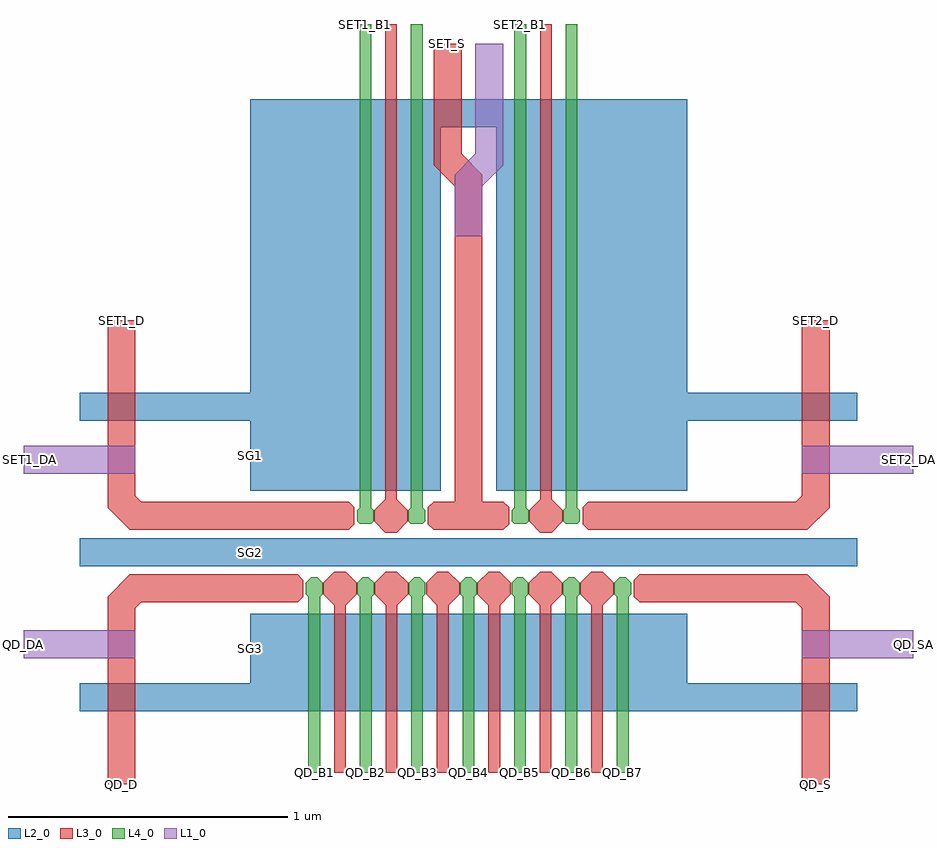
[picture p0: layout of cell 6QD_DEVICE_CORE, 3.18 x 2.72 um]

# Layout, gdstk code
import gdstk
lib = gdstk.Library(unit=1e-6, precision=1e-09)
def R(c, l, rs):  # rectangles x0, y0, x1, y1
    for r in rs: c.add(gdstk.rectangle(r[:2], r[2:], *l))
def P(c, l, *ps):  # polygons
    for p in ps: c.add(gdstk.Polygon(p, *l))
L1_0 = (1, 0)
L2_0 = (2, 0)
L3_0 = (3, 0)
L4_0 = (4, 0)

c_6qd_device_core = lib.new_cell('6QD_DEVICE_CORE')
R(c_6qd_device_core, L1_0, [(-1.04,-0.25,-0.64,-0.15), (1.744,-0.25,2.144,-0.15), (-1.04,0.41,-0.64,0.51), (1.744,0.41,2.144,0.51)])
P(c_6qd_device_core, L1_0, [(0.502,1.26),(0.602,1.26),(0.602,1.439),(0.677,1.514),(0.677,1.95),(0.577,1.95),(0.577,1.556),(0.502,1.481)])
R(c_6qd_device_core, L2_0, [(-0.84,0.08,1.944,0.18)])
P(c_6qd_device_core, L2_0, [(-0.23,0.7),(-0.23,1.75),(0.452,1.75),(0.652,1.75),(1.334,1.75),(1.334,0.7),(1.944,0.7),(1.944,0.6),(1.334,0.6),(1.334,0.35),(0.652,0.35),(0.652,1.65),(0.452,1.65),(0.452,0.35),(-0.23,0.35),(-0.23,0.6),(-0.84,0.6),(-0.84,0.7)],
  [(-0.84,-0.34),(-0.84,-0.44),(1.944,-0.44),(1.944,-0.34),(1.334,-0.34),(1.334,-0.09),(-0.23,-0.09),(-0.23,-0.34)])
P(c_6qd_device_core, L3_0, [(0.113,-0.06),(0.152,-0.02),(0.152,0.02),(0.112,0.06),(0.072,0.06),(0.032,0.02),(0.032,-0.02),(0.071,-0.06),(0.071,-0.66),(0.113,-0.66)],
  [(0.297,-0.06),(0.336,-0.02),(0.336,0.02),(0.296,0.06),(0.256,0.06),(0.216,0.02),(0.216,-0.02),(0.255,-0.06),(0.255,-0.66),(0.297,-0.66)],
  [(0.481,-0.06),(0.52,-0.02),(0.52,0.02),(0.48,0.06),(0.44,0.06),(0.4,0.02),(0.4,-0.02),(0.439,-0.06),(0.439,-0.66),(0.481,-0.66)],
  [(0.665,-0.06),(0.704,-0.02),(0.704,0.02),(0.664,0.06),(0.624,0.06),(0.584,0.02),(0.584,-0.02),(0.623,-0.06),(0.623,-0.66),(0.665,-0.66)],
  [(0.849,-0.06),(0.888,-0.02),(0.888,0.02),(0.848,0.06),(0.808,0.06),(0.768,0.02),(0.768,-0.02),(0.807,-0.06),(0.807,-0.66),(0.849,-0.66)],
  [(1.033,-0.06),(1.072,-0.02),(1.072,0.02),(1.032,0.06),(0.992,0.06),(0.952,0.02),(0.952,-0.02),(0.991,-0.06),(0.991,-0.66),(1.033,-0.66)],
  [(0.335,0.24),(0.335,0.28),(0.296,0.319),(0.296,2.02),(0.254,2.02),(0.254,0.319),(0.215,0.28),(0.215,0.24),(0.254,0.2),(0.296,0.2)],
  [(0.889,0.24),(0.889,0.28),(0.85,0.319),(0.85,2.02),(0.808,2.02),(0.808,0.319),(0.769,0.28),(0.769,0.24),(0.808,0.2),(0.85,0.2)],
  [(-0.34,-0.05),(-0.06,-0.05),(-0.04,-0.03),(-0.04,0.03),(-0.06,0.05),(-0.34,0.05)],
  [(1.144,-0.03),(1.164,-0.05),(1.444,-0.05),(1.444,0.05),(1.164,0.05),(1.144,0.03)],
  [(-0.34,0.21),(0.123,0.21),(0.143,0.23),(0.143,0.29),(0.123,0.31),(-0.34,0.31)],
  [(0.961,0.23),(0.981,0.21),(1.444,0.21),(1.444,0.31),(0.981,0.31),(0.961,0.29)],
  [(0.697,0.23),(0.697,0.29),(0.677,0.31),(0.602,0.31),(0.602,1.41),(0.502,1.41),(0.502,0.31),(0.427,0.31),(0.407,0.29),(0.407,0.23),(0.427,0.21),(0.677,0.21)],
  [(-0.34,-0.05),(-0.34,0.05),(-0.661,0.05),(-0.74,-0.029),(-0.74,-0.7),(-0.64,-0.7),(-0.64,-0.071),(-0.619,-0.05)],
  [(1.444,0.05),(1.444,-0.05),(1.723,-0.05),(1.744,-0.071),(1.744,-0.7),(1.844,-0.7),(1.844,-0.029),(1.765,0.05)],
  [(-0.34,0.21),(-0.34,0.31),(-0.619,0.31),(-0.64,0.331),(-0.64,0.96),(-0.74,0.96),(-0.74,0.289),(-0.661,0.21)],
  [(1.444,0.31),(1.444,0.21),(1.765,0.21),(1.844,0.289),(1.844,0.96),(1.744,0.96),(1.744,0.331),(1.723,0.31)],
  [(0.502,1.41),(0.602,1.41),(0.602,1.481),(0.527,1.556),(0.527,1.95),(0.427,1.95),(0.427,1.514),(0.502,1.439)])
P(c_6qd_device_core, L4_0, [(0.021,-0.029),(0.03,-0.02),(0.03,0.02),(0.01,0.04),(-0.01,0.04),(-0.03,0.02),(-0.03,-0.02),(-0.021,-0.029),(-0.021,-0.66),(0.021,-0.66)],
  [(0.205,-0.029),(0.214,-0.02),(0.214,0.02),(0.194,0.04),(0.174,0.04),(0.154,0.02),(0.154,-0.02),(0.163,-0.029),(0.163,-0.66),(0.205,-0.66)],
  [(0.389,-0.029),(0.398,-0.02),(0.398,0.02),(0.378,0.04),(0.358,0.04),(0.338,0.02),(0.338,-0.02),(0.347,-0.029),(0.347,-0.66),(0.389,-0.66)],
  [(0.573,-0.029),(0.582,-0.02),(0.582,0.02),(0.562,0.04),(0.542,0.04),(0.522,0.02),(0.522,-0.02),(0.531,-0.029),(0.531,-0.66),(0.573,-0.66)],
  [(0.757,-0.029),(0.766,-0.02),(0.766,0.02),(0.746,0.04),(0.726,0.04),(0.706,0.02),(0.706,-0.02),(0.715,-0.029),(0.715,-0.66),(0.757,-0.66)],
  [(0.941,-0.029),(0.95,-0.02),(0.95,0.02),(0.93,0.04),(0.91,0.04),(0.89,0.02),(0.89,-0.02),(0.899,-0.029),(0.899,-0.66),(0.941,-0.66)],
  [(1.125,-0.029),(1.134,-0.02),(1.134,0.02),(1.114,0.04),(1.094,0.04),(1.074,0.02),(1.074,-0.02),(1.083,-0.029),(1.083,-0.66),(1.125,-0.66)],
  [(0.213,0.24),(0.213,0.28),(0.204,0.289),(0.204,2.02),(0.162,2.02),(0.162,0.289),(0.153,0.28),(0.153,0.24),(0.162,0.231),(0.204,0.231)],
  [(0.397,0.24),(0.397,0.28),(0.388,0.289),(0.388,2.02),(0.346,2.02),(0.346,0.289),(0.337,0.28),(0.337,0.24),(0.346,0.231),(0.388,0.231)],
  [(0.767,0.24),(0.767,0.28),(0.758,0.289),(0.758,2.02),(0.716,2.02),(0.716,0.289),(0.707,0.28),(0.707,0.24),(0.716,0.231),(0.758,0.231)],
  [(0.951,0.24),(0.951,0.28),(0.942,0.289),(0.942,2.02),(0.9,2.02),(0.9,0.289),(0.891,0.28),(0.891,0.24),(0.9,0.231),(0.942,0.231)])
c_6qd_device_core.add(gdstk.Label('QD_B1', (0,-0.66), layer=100, texttype=0))
c_6qd_device_core.add(gdstk.Label('QD_PG1', (0.092,-0.66), layer=100, texttype=0))
c_6qd_device_core.add(gdstk.Label('QD_B2', (0.184,-0.66), layer=100, texttype=0))
c_6qd_device_core.add(gdstk.Label('QD_PG2', (0.276,-0.66), layer=100, texttype=0))
c_6qd_device_core.add(gdstk.Label('QD_B3', (0.368,-0.66), layer=100, texttype=0))
c_6qd_device_core.add(gdstk.Label('QD_PG3', (0.46,-0.66), layer=100, texttype=0))
c_6qd_device_core.add(gdstk.Label('QD_B4', (0.552,-0.66), layer=100, texttype=0))
c_6qd_device_core.add(gdstk.Label('QD_PG4', (0.644,-0.66), layer=100, texttype=0))
c_6qd_device_core.add(gdstk.Label('QD_B5', (0.736,-0.66), layer=100, texttype=0))
c_6qd_device_core.add(gdstk.Label('QD_PG5', (0.828,-0.66), layer=100, texttype=0))
c_6qd_device_core.add(gdstk.Label('QD_B6', (0.92,-0.66), layer=100, texttype=0))
c_6qd_device_core.add(gdstk.Label('QD_PG6', (1.012,-0.66), layer=100, texttype=0))
c_6qd_device_core.add(gdstk.Label('QD_B7', (1.104,-0.66), layer=100, texttype=0))
c_6qd_device_core.add(gdstk.Label('SET1_B1', (0.183,2.02), layer=100, texttype=0))
c_6qd_device_core.add(gdstk.Label('SET1_G', (0.275,2.02), layer=100, texttype=0))
c_6qd_device_core.add(gdstk.Label('SET1_B2', (0.367,2.02), layer=100, texttype=0))
c_6qd_device_core.add(gdstk.Label('SET2_B1', (0.737,2.02), layer=100, texttype=0))
c_6qd_device_core.add(gdstk.Label('SET2_G', (0.829,2.02), layer=100, texttype=0))
c_6qd_device_core.add(gdstk.Label('SET2_B2', (0.921,2.02), layer=100, texttype=0))
c_6qd_device_core.add(gdstk.Label('SG1', (-0.23,0.475), layer=100, texttype=0))
c_6qd_device_core.add(gdstk.Label('SG2', (-0.23,0.13), layer=100, texttype=0))
c_6qd_device_core.add(gdstk.Label('SG3', (-0.23,-0.215), layer=100, texttype=0))
c_6qd_device_core.add(gdstk.Label('QD_D', (-0.69,-0.7), layer=100, texttype=0))
c_6qd_device_core.add(gdstk.Label('QD_S', (1.794,-0.7), layer=100, texttype=0))
c_6qd_device_core.add(gdstk.Label('SET1_D', (-0.69,0.96), layer=100, texttype=0))
c_6qd_device_core.add(gdstk.Label('SET2_D', (1.794,0.96), layer=100, texttype=0))
c_6qd_device_core.add(gdstk.Label('SET_S', (0.477,1.95), layer=100, texttype=0))
c_6qd_device_core.add(gdstk.Label('QD_DA', (-1.04,-0.2), layer=100, texttype=0))
c_6qd_device_core.add(gdstk.Label('QD_SA', (2.144,-0.2), layer=100, texttype=0))
c_6qd_device_core.add(gdstk.Label('SET1_DA', (-1.04,0.46), layer=100, texttype=0))
c_6qd_device_core.add(gdstk.Label('SET2_DA', (2.144,0.46), layer=100, texttype=0))
c_6qd_device_core.add(gdstk.Label('SET_SA', (0.627,1.95), layer=100, texttype=0))

lib.write_gds('6QD_DEVICE_CORE.gds')
